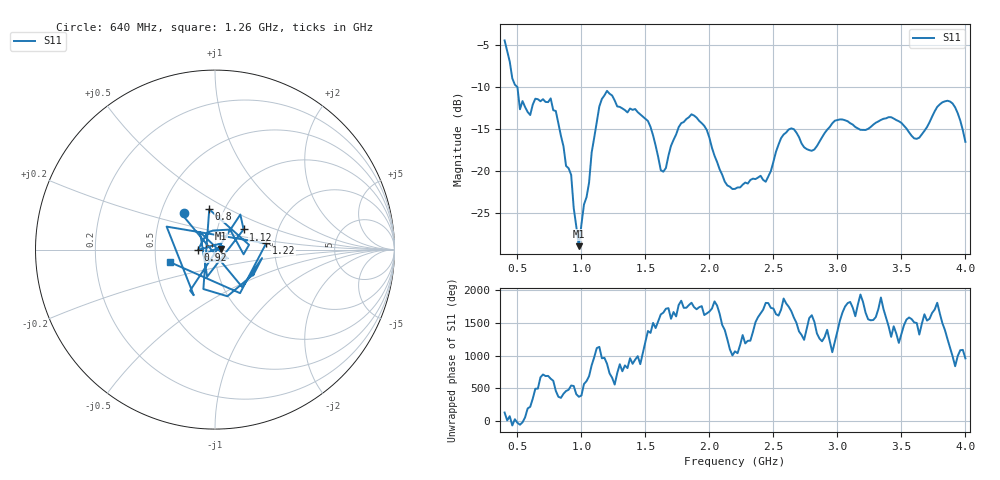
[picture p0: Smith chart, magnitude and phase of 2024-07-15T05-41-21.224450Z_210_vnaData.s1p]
!Created with skrf (http://scikit-rf.org).
# Hz S RI R 50.0
!freq ReS11 ImS11
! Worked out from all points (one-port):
!   181 points, 400 MHz to 4 GHz, reference 50 ohm
!   lowest |S11| = -29.0 dB at 980 MHz (marker M1), VSWR 1.07, Z = 53.7 + j0.522 ohm
!   |S11| at or under -10 dB: 496.5 MHz to end of sweep
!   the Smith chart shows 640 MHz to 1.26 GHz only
!   S11 on the Smith chart (normalised r, x): 640 MHz: 0.65, +0.29; 800 MHz: 0.85, +0.40; 920 MHz: 0.83, -0.00; 1.12 GHz: 1.34, +0.31; 1.22 GHz: 1.79, +0.14; 1.26 GHz: 0.59, -0.09
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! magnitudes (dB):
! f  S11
! 400 MHz  -4.5
! 520 MHz  -12.7
! 600 MHz  -13.4
! 640 MHz  -11.4
! 800 MHz  -12.9
! 860 MHz  -17.1
! 920 MHz  -20.5
! 980 MHz  -29.0
! 1.12 GHz  -14.2
! 1.22 GHz  -10.8
! 1.26 GHz  -11.6
! 1.3 GHz  -12.4
! 1.52 GHz  -14.1
! 1.64 GHz  -20.1
! 1.76 GHz  -14.8
! 1.96 GHz  -14.7
! 2.12 GHz  -21.3
! 2.2 GHz  -22.2
! 2.44 GHz  -21.3
! 2.56 GHz  -16.1
! 2.66 GHz  -15.1
! 2.8 GHz  -17.6
! 2.98 GHz  -14.1
! 3.1 GHz  -14.3
! 3.56 GHz  -15.4
! 3.64 GHz  -16.1
! 3.86 GHz  -11.7
! 4 GHz  -16.6
